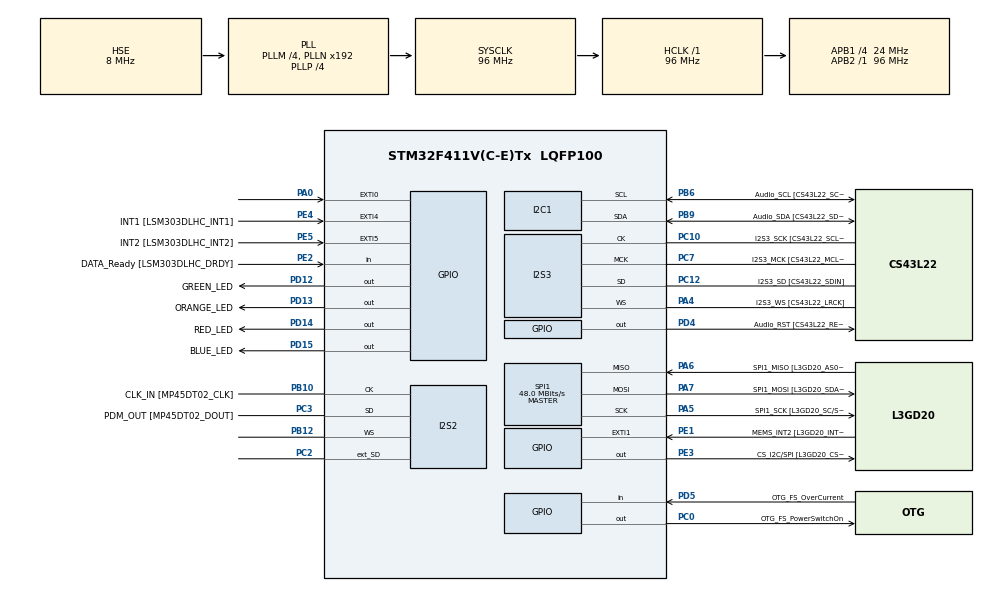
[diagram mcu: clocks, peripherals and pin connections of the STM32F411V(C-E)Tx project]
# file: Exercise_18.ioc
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FREERTOS.Tasks01=GREEN_LED,0,128,Start_GREEN_LED,Default,NULL,Dynamic,NULL,NULL;RED_LED,0,128,Start_RED_LED,Default,NULL,Dynamic,NULL,NULL;LED_FLASH_CONTR,0,128,Start_LED_FLASH_CONTROL,Default,NULL,Dynamic,NULL,NULL
I2S2.AudioFreq=I2S_AUDIOFREQ_96K
I2S2.ErrorAudioFreq=0.15 %
I2S2.FullDuplexMode=I2S_FULLDUPLEXMODE_ENABLE
I2S2.Instance=SPI$Index
I2S2.RealAudioFreq=96.153 KHz
I2S2.VirtualMode=I2S_MODE_MASTER
I2S3.AudioFreq=I2S_AUDIOFREQ_96K
I2S3.ErrorAudioFreq=-6.99 %
I2S3.FullDuplexMode=I2S_FULLDUPLEXMODE_DISABLE
I2S3.Instance=SPI$Index
I2S3.RealAudioFreq=89.285 KHz
I2S3.VirtualMode=I2S_MODE_MASTER
Mcu.Family=STM32F4
Mcu.Name=STM32F411V(C-E)Tx
Mcu.Package=LQFP100
NVIC.PriorityGroup=NVIC_PRIORITYGROUP_4
NVIC.TIM1_UP_TIM10_IRQn=true\:0\:0\:false\:false\:true\:false\:false\:true
NVIC.TimeBase=TIM1_UP_TIM10_IRQn
NVIC.TimeBaseIP=TIM1
PA0-WKUP.GPIO_ModeDefaultEXTI=GPIO_MODE_EVT_RISING
PA0-WKUP.Signal=GPXTI0
PA10.GPIO_Label=OTG_FS_ID
PA10.Signal=USB_OTG_FS_ID
PA11.GPIO_Label=OTG_FS_DM
PA11.Signal=USB_OTG_FS_DM
PA12.GPIO_Label=OTG_FS_DP
PA12.Signal=USB_OTG_FS_DP
PA13.GPIO_Label=SWDIO
PA13.Mode=Serial_Wire
PA13.Signal=SYS_JTMS-SWDIO
PA14.GPIO_Label=SWCLK
PA14.Mode=Serial_Wire
PA14.Signal=SYS_JTCK-SWCLK
PA4.GPIO_Label=I2S3_WS [CS43L22_LRCK]
PA4.GPIO_Mode=GPIO_MODE_AF_PP
PA4.GPIO_PuPd=GPIO_NOPULL
PA4.GPIO_Speed=GPIO_SPEED_FREQ_LOW
PA4.Mode=Half_Duplex_Master
PA4.Signal=I2S3_WS
PA5.GPIO_Label=SPI1_SCK [L3GD20_SC/SPC]
PA5.Mode=Full_Duplex_Master
PA5.Signal=SPI1_SCK
PA6.GPIO_Label=SPI1_MISO [L3GD20_AS0/SDO]
PA6.Mode=Full_Duplex_Master
PA6.Signal=SPI1_MISO
PA7.GPIO_Label=SPI1_MOSI [L3GD20_SDA/SDI/SDO]
PA7.Mode=Full_Duplex_Master
PA7.Signal=SPI1_MOSI
PA9.GPIO_Label=VBUS_FS
PA9.Signal=USB_OTG_FS_VBUS
PB10.GPIO_Label=CLK_IN [MP45DT02_CLK]
PB10.Mode=Full_Duplex_Master
PB10.Signal=I2S2_CK
PB12.Mode=Full_Duplex_Master
PB12.Signal=I2S2_WS
PB3.GPIO_Label=SWO
PB3.Signal=SYS_JTDO-SWO
PB6.GPIO_Label=Audio_SCL [CS43L22_SCL]
PB6.GPIO_Mode=GPIO_MODE_AF_OD
PB6.GPIO_PuPd=GPIO_NOPULL
PB6.GPIO_Speed=GPIO_SPEED_FREQ_LOW
PB6.Mode=I2C
PB6.Signal=I2C1_SCL
PB9.GPIO_Label=Audio_SDA [CS43L22_SDA]
PB9.GPIO_Mode=GPIO_MODE_AF_OD
PB9.GPIO_PuPd=GPIO_NOPULL
PB9.GPIO_Speed=GPIO_SPEED_FREQ_LOW
PB9.Mode=I2C
PB9.Signal=I2C1_SDA
PC0.GPIO_Label=OTG_FS_PowerSwitchOn
PC0.PinState=GPIO_PIN_SET
PC0.Signal=GPIO_Output
PC10.GPIO_Label=I2S3_SCK [CS43L22_SCLK]
PC10.GPIO_Mode=GPIO_MODE_AF_PP
PC10.GPIO_PuPd=GPIO_NOPULL
PC10.GPIO_Speed=GPIO_SPEED_FREQ_LOW
PC10.Mode=Half_Duplex_Master
PC10.Signal=I2S3_CK
PC12.GPIO_Label=I2S3_SD [CS43L22_SDIN]
PC12.GPIO_Mode=GPIO_MODE_AF_PP
PC12.GPIO_PuPd=GPIO_NOPULL
PC12.GPIO_Speed=GPIO_SPEED_FREQ_LOW
PC12.Mode=Half_Duplex_Master
PC12.Signal=I2S3_SD
PC14-OSC32_IN.GPIO_Label=PC14-OSC32_IN
PC14-OSC32_IN.Mode=LSE-External-Oscillator
PC14-OSC32_IN.Signal=RCC_OSC32_IN
PC15-OSC32_OUT.GPIO_Label=PC15-OSC32_OUT
PC15-OSC32_OUT.Mode=LSE-External-Oscillator
PC15-OSC32_OUT.Signal=RCC_OSC32_OUT
PC2.Mode=Full_Duplex_Master
PC2.Signal=I2S2_ext_SD
PC3.GPIO_Label=PDM_OUT [MP45DT02_DOUT]
PC3.Mode=Full_Duplex_Master
PC3.Signal=I2S2_SD
PC7.GPIO_Label=I2S3_MCK [CS43L22_MCLK]
PC7.GPIO_Mode=GPIO_MODE_AF_PP
PC7.GPIO_PuPd=GPIO_NOPULL
PC7.GPIO_Speed=GPIO_SPEED_FREQ_LOW
PC7.Mode=Master_Clock_Activated
PC7.Signal=I2S3_MCK
PD12.GPIO_Label=GREEN_LED
PD12.GPIO_PuPd=GPIO_NOPULL
PD12.GPIO_Speed=GPIO_SPEED_FREQ_LOW
PD12.Signal=GPIO_Output
PD13.GPIO_Label=ORANGE_LED
PD13.GPIO_PuPd=GPIO_NOPULL
PD13.GPIO_Speed=GPIO_SPEED_FREQ_LOW
PD13.Signal=GPIO_Output
PD14.GPIO_Label=RED_LED
PD14.GPIO_PuPd=GPIO_NOPULL
PD14.GPIO_Speed=GPIO_SPEED_FREQ_LOW
PD14.Signal=GPIO_Output
PD15.GPIO_Label=BLUE_LED
PD15.GPIO_PuPd=GPIO_NOPULL
PD15.GPIO_Speed=GPIO_SPEED_FREQ_LOW
PD15.Signal=GPIO_Output
PD4.GPIO_Label=Audio_RST [CS43L22_RESET]
PD4.Signal=GPIO_Output
PD5.GPIO_Label=OTG_FS_OverCurrent
PD5.Signal=GPIO_Input
PE1.GPIO_Label=MEMS_INT2 [L3GD20_INT2]
PE1.GPIO_ModeDefaultEXTI=GPIO_MODE_EVT_RISING
PE1.Signal=GPXTI1
PE2.GPIO_Label=DATA_Ready [LSM303DLHC_DRDY]
PE2.Signal=GPIO_Input
PE3.GPIO_Label=CS_I2C/SPI [L3GD20_CS_I2C/SPI]
PE3.Signal=GPIO_Output
PE4.GPIO_Label=INT1 [LSM303DLHC_INT1]
PE4.GPIO_ModeDefaultEXTI=GPIO_MODE_EVT_RISING
PE4.Signal=GPXTI4
PE5.GPIO_Label=INT2 [LSM303DLHC_INT2]
PE5.GPIO_ModeDefaultEXTI=GPIO_MODE_EVT_RISING
PE5.Signal=GPXTI5
PH0\ -\ OSC_IN.GPIO_Label=PH0-OSC_IN
PH0\ -\ OSC_IN.Mode=HSE-External-Oscillator
PH0\ -\ OSC_IN.Signal=RCC_OSC_IN
PH1\ -\ OSC_OUT.GPIO_Label=PH1-OSC_OUT
PH1\ -\ OSC_OUT.Mode=HSE-External-Oscillator
PH1\ -\ OSC_OUT.Signal=RCC_OSC_OUT
ProjectManager.HeapSize=0x200
ProjectManager.StackSize=0x400
ProjectManager.TargetToolchain=STM32CubeIDE
RCC.48MHZClocksFreq_Value=48000000
RCC.AHBFreq_Value=96000000
RCC.APB1CLKDivider=RCC_HCLK_DIV4
RCC.APB1Freq_Value=24000000
RCC.APB1TimFreq_Value=48000000
RCC.APB2Freq_Value=96000000
RCC.APB2TimFreq_Value=96000000
RCC.CortexFreq_Value=96000000
RCC.HCLKFreq_Value=96000000
RCC.HSE_VALUE=8000000
RCC.HSI_VALUE=16000000
RCC.PLLI2SM=5
RCC.PLLI2SN=200
RCC.PLLM=4
RCC.PLLP=RCC_PLLP_DIV4
RCC.PLLQ=8
RCC.PLLSourceVirtual=RCC_PLLSOURCE_HSE
RCC.SYSCLKFreq_VALUE=96000000
RCC.SYSCLKSource=RCC_SYSCLKSOURCE_PLLCLK
RCC.VCOOutputFreq_Value=384000000
SPI1.BaudRatePrescaler=SPI_BAUDRATEPRESCALER_2
SPI1.CalculateBaudRate=48.0 MBits/s
SPI1.Direction=SPI_DIRECTION_2LINES
SPI1.Mode=SPI_MODE_MASTER
SPI1.VirtualType=VM_MASTER
VP_FREERTOS_VS_CMSIS_V1.Mode=CMSIS_V1
VP_SYS_VS_tim1.Mode=TIM1
board=STM32F411E-DISCO

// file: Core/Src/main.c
/* USER CODE BEGIN Header */
/**
  ******************************************************************************
  * @file           : main.c
  * @brief          : Main program body
  ******************************************************************************
  * @attention
  *
  * <h2><center>&copy; Copyright (c) 2024 STMicroelectronics.
  * All rights reserved.</center></h2>
  *
  * This software component is licensed by ST under Ultimate Liberty license
  * SLA0044, the "License"; You may not use this file except in compliance with
  * the License. You may obtain a copy of the License at:
  *                             www.st.com/SLA0044
  *
  ******************************************************************************
  */
/* USER CODE END Header */

#include "main.h"
#include "cmsis_os.h"
#include "stdint.h"

/* USER CODE BEGIN Includes */
#include "LED_flash_pool.h"
/* USER CODE END Includes */

I2C_HandleTypeDef hi2c1;

I2S_HandleTypeDef hi2s2;
I2S_HandleTypeDef hi2s3;

SPI_HandleTypeDef hspi1;

osThreadId GREEN_LEDHandle;
osThreadId RED_LEDHandle;
osThreadId LED_FLASH_CONTRHandle;

void SystemClock_Config(void);
static void MX_GPIO_Init(void);
static void MX_I2C1_Init(void);
static void MX_I2S2_Init(void);
static void MX_I2S3_Init(void);
static void MX_SPI1_Init(void);
void Start_GREEN_LED(void const * argument);
void Start_RED_LED(void const * argument);
void Start_LED_FLASH_CONTROL(void const * argument);

int main(void)
{

  /* MCU Configuration--------------------------------------------------------*/

  /* Reset of all peripherals, Initializes the Flash interface and the Systick. */
  HAL_Init();

  /* USER CODE BEGIN Init */
  init_LED_flash_pool();
  /* USER CODE END Init */

  /* Configure the system clock */
  SystemClock_Config();

  /* Initialize all configured peripherals */
  MX_GPIO_Init();
  MX_I2C1_Init();
  MX_I2S2_Init();
  MX_I2S3_Init();
  MX_SPI1_Init();

  /* Create the thread(s) */
  /* definition and creation of GREEN_LED */
  osThreadDef(GREEN_LED, Start_GREEN_LED, osPriorityNormal, 0, 128);
  GREEN_LEDHandle = osThreadCreate(osThread(GREEN_LED), NULL);

  /* definition and creation of RED_LED */
  osThreadDef(RED_LED, Start_RED_LED, osPriorityNormal, 0, 128);
  RED_LEDHandle = osThreadCreate(osThread(RED_LED), NULL);

  /* definition and creation of LED_FLASH_CONTR */
  osThreadDef(LED_FLASH_CONTR, Start_LED_FLASH_CONTROL, osPriorityNormal, 0, 128);
  LED_FLASH_CONTRHandle = osThreadCreate(osThread(LED_FLASH_CONTR), NULL);

  /* Start scheduler */
  osKernelStart();

  /* We should never get here as control is now taken by the scheduler */

  /* Infinite loop */
  while (1)
  {

  }
}

void SystemClock_Config(void)
{
  RCC_OscInitTypeDef RCC_OscInitStruct = {0};
  RCC_ClkInitTypeDef RCC_ClkInitStruct = {0};
  RCC_PeriphCLKInitTypeDef PeriphClkInitStruct = {0};

  /** Configure the main internal regulator output voltage
  */
  __HAL_RCC_PWR_CLK_ENABLE();
  __HAL_PWR_VOLTAGESCALING_CONFIG(PWR_REGULATOR_VOLTAGE_SCALE1);
  /** Initializes the CPU, AHB and APB busses clocks
  */
  RCC_OscInitStruct.OscillatorType = RCC_OSCILLATORTYPE_HSE;
  RCC_OscInitStruct.HSEState = RCC_HSE_ON;
  RCC_OscInitStruct.PLL.PLLState = RCC_PLL_ON;
  RCC_OscInitStruct.PLL.PLLSource = RCC_PLLSOURCE_HSE;
  RCC_OscInitStruct.PLL.PLLM = 4;
  RCC_OscInitStruct.PLL.PLLN = 192;
  RCC_OscInitStruct.PLL.PLLP = RCC_PLLP_DIV4;
  RCC_OscInitStruct.PLL.PLLQ = 8;
  if (HAL_RCC_OscConfig(&RCC_OscInitStruct) != HAL_OK)
  {
    Error_Handler();
  }
  /** Initializes the CPU, AHB and APB busses clocks
  */
  RCC_ClkInitStruct.ClockType = RCC_CLOCKTYPE_HCLK|RCC_CLOCKTYPE_SYSCLK
                              |RCC_CLOCKTYPE_PCLK1|RCC_CLOCKTYPE_PCLK2;
  RCC_ClkInitStruct.SYSCLKSource = RCC_SYSCLKSOURCE_PLLCLK;
  RCC_ClkInitStruct.AHBCLKDivider = RCC_SYSCLK_DIV1;
  RCC_ClkInitStruct.APB1CLKDivider = RCC_HCLK_DIV4;
  RCC_ClkInitStruct.APB2CLKDivider = RCC_HCLK_DIV1;

  if (HAL_RCC_ClockConfig(&RCC_ClkInitStruct, FLASH_LATENCY_3) != HAL_OK)
  {
    Error_Handler();
  }
  PeriphClkInitStruct.PeriphClockSelection = RCC_PERIPHCLK_I2S;
  PeriphClkInitStruct.PLLI2S.PLLI2SN = 200;
  PeriphClkInitStruct.PLLI2S.PLLI2SM = 5;
  PeriphClkInitStruct.PLLI2S.PLLI2SR = 2;
  if (HAL_RCCEx_PeriphCLKConfig(&PeriphClkInitStruct) != HAL_OK)
  {
    Error_Handler();
  }
}

static void MX_I2C1_Init(void)
{

  hi2c1.Instance = I2C1;
  hi2c1.Init.ClockSpeed = 100000;
  hi2c1.Init.DutyCycle = I2C_DUTYCYCLE_2;
  hi2c1.Init.OwnAddress1 = 0;
  hi2c1.Init.AddressingMode = I2C_ADDRESSINGMODE_7BIT;
  hi2c1.Init.DualAddressMode = I2C_DUALADDRESS_DISABLE;
  hi2c1.Init.OwnAddress2 = 0;
  hi2c1.Init.GeneralCallMode = I2C_GENERALCALL_DISABLE;
  hi2c1.Init.NoStretchMode = I2C_NOSTRETCH_DISABLE;
  if (HAL_I2C_Init(&hi2c1) != HAL_OK)
  {
    Error_Handler();
  }

}

static void MX_I2S2_Init(void)
{

  hi2s2.Instance = SPI2;
  hi2s2.Init.Mode = I2S_MODE_MASTER_TX;
  hi2s2.Init.Standard = I2S_STANDARD_PHILIPS;
  hi2s2.Init.DataFormat = I2S_DATAFORMAT_16B;
  hi2s2.Init.MCLKOutput = I2S_MCLKOUTPUT_DISABLE;
  hi2s2.Init.AudioFreq = I2S_AUDIOFREQ_96K;
  hi2s2.Init.CPOL = I2S_CPOL_LOW;
  hi2s2.Init.ClockSource = I2S_CLOCK_PLL;
  hi2s2.Init.FullDuplexMode = I2S_FULLDUPLEXMODE_ENABLE;
  if (HAL_I2S_Init(&hi2s2) != HAL_OK)
  {
    Error_Handler();
  }

}

static void MX_I2S3_Init(void)
{

  hi2s3.Instance = SPI3;
  hi2s3.Init.Mode = I2S_MODE_MASTER_TX;
  hi2s3.Init.Standard = I2S_STANDARD_PHILIPS;
  hi2s3.Init.DataFormat = I2S_DATAFORMAT_16B;
  hi2s3.Init.MCLKOutput = I2S_MCLKOUTPUT_ENABLE;
  hi2s3.Init.AudioFreq = I2S_AUDIOFREQ_96K;
  hi2s3.Init.CPOL = I2S_CPOL_LOW;
  hi2s3.Init.ClockSource = I2S_CLOCK_PLL;
  hi2s3.Init.FullDuplexMode = I2S_FULLDUPLEXMODE_DISABLE;
  if (HAL_I2S_Init(&hi2s3) != HAL_OK)
  {
    Error_Handler();
  }

}

static void MX_SPI1_Init(void)
{

  /* SPI1 parameter configuration*/
  hspi1.Instance = SPI1;
  hspi1.Init.Mode = SPI_MODE_MASTER;
  hspi1.Init.Direction = SPI_DIRECTION_2LINES;
  hspi1.Init.DataSize = SPI_DATASIZE_8BIT;
  hspi1.Init.CLKPolarity = SPI_POLARITY_LOW;
  hspi1.Init.CLKPhase = SPI_PHASE_1EDGE;
  hspi1.Init.NSS = SPI_NSS_SOFT;
  hspi1.Init.BaudRatePrescaler = SPI_BAUDRATEPRESCALER_2;
  hspi1.Init.FirstBit = SPI_FIRSTBIT_MSB;
  hspi1.Init.TIMode = SPI_TIMODE_DISABLE;
  hspi1.Init.CRCCalculation = SPI_CRCCALCULATION_DISABLE;
  hspi1.Init.CRCPolynomial = 10;
  if (HAL_SPI_Init(&hspi1) != HAL_OK)
  {
    Error_Handler();
  }

}

static void MX_GPIO_Init(void)
{
  GPIO_InitTypeDef GPIO_InitStruct = {0};

  /* GPIO Ports Clock Enable */
  __HAL_RCC_GPIOE_CLK_ENABLE();
  __HAL_RCC_GPIOC_CLK_ENABLE();
  __HAL_RCC_GPIOH_CLK_ENABLE();
  __HAL_RCC_GPIOA_CLK_ENABLE();
  __HAL_RCC_GPIOB_CLK_ENABLE();
  __HAL_RCC_GPIOD_CLK_ENABLE();

  /*Configure GPIO pin Output Level */
  HAL_GPIO_WritePin(CS_I2C_SPI_GPIO_Port, CS_I2C_SPI_Pin, GPIO_PIN_RESET);

  /*Configure GPIO pin Output Level */
  HAL_GPIO_WritePin(OTG_FS_PowerSwitchOn_GPIO_Port, OTG_FS_PowerSwitchOn_Pin, GPIO_PIN_SET);

  /*Configure GPIO pin Output Level */
  HAL_GPIO_WritePin(GPIOD, GREEN_LED_Pin|ORANGE_LED_Pin|RED_LED_Pin|BLUE_LED_Pin
                          |Audio_RST_Pin, GPIO_PIN_RESET);

  /*Configure GPIO pin : DATA_Ready_Pin */
  GPIO_InitStruct.Pin = DATA_Ready_Pin;
  GPIO_InitStruct.Mode = GPIO_MODE_INPUT;
  GPIO_InitStruct.Pull = GPIO_NOPULL;
  HAL_GPIO_Init(DATA_Ready_GPIO_Port, &GPIO_InitStruct);

  /*Configure GPIO pin : CS_I2C_SPI_Pin */
  GPIO_InitStruct.Pin = CS_I2C_SPI_Pin;
  GPIO_InitStruct.Mode = GPIO_MODE_OUTPUT_PP;
  GPIO_InitStruct.Pull = GPIO_NOPULL;
  GPIO_InitStruct.Speed = GPIO_SPEED_FREQ_LOW;
  HAL_GPIO_Init(CS_I2C_SPI_GPIO_Port, &GPIO_InitStruct);

  /*Configure GPIO pins : INT1_Pin INT2_Pin MEMS_INT2_Pin */
  GPIO_InitStruct.Pin = INT1_Pin|INT2_Pin|MEMS_INT2_Pin;
  GPIO_InitStruct.Mode = GPIO_MODE_EVT_RISING;
  GPIO_InitStruct.Pull = GPIO_NOPULL;
  HAL_GPIO_Init(GPIOE, &GPIO_InitStruct);

  /*Configure GPIO pin : OTG_FS_PowerSwitchOn_Pin */
  GPIO_InitStruct.Pin = OTG_FS_PowerSwitchOn_Pin;
  GPIO_InitStruct.Mode = GPIO_MODE_OUTPUT_PP;
  GPIO_InitStruct.Pull = GPIO_NOPULL;
  GPIO_InitStruct.Speed = GPIO_SPEED_FREQ_LOW;
  HAL_GPIO_Init(OTG_FS_PowerSwitchOn_GPIO_Port, &GPIO_InitStruct);

  /*Configure GPIO pin : PA0 */
  GPIO_InitStruct.Pin = GPIO_PIN_0;
  GPIO_InitStruct.Mode = GPIO_MODE_EVT_RISING;
  GPIO_InitStruct.Pull = GPIO_NOPULL;
  HAL_GPIO_Init(GPIOA, &GPIO_InitStruct);

  /*Configure GPIO pins : GREEN_LED_Pin ORANGE_LED_Pin RED_LED_Pin BLUE_LED_Pin
                           Audio_RST_Pin */
  GPIO_InitStruct.Pin = GREEN_LED_Pin|ORANGE_LED_Pin|RED_LED_Pin|BLUE_LED_Pin
                          |Audio_RST_Pin;
  GPIO_InitStruct.Mode = GPIO_MODE_OUTPUT_PP;
  GPIO_InitStruct.Pull = GPIO_NOPULL;
  GPIO_InitStruct.Speed = GPIO_SPEED_FREQ_LOW;
  HAL_GPIO_Init(GPIOD, &GPIO_InitStruct);

  /*Configure GPIO pin : VBUS_FS_Pin */
  GPIO_InitStruct.Pin = VBUS_FS_Pin;
  GPIO_InitStruct.Mode = GPIO_MODE_INPUT;
  GPIO_InitStruct.Pull = GPIO_NOPULL;
  HAL_GPIO_Init(VBUS_FS_GPIO_Port, &GPIO_InitStruct);

  /*Configure GPIO pins : OTG_FS_ID_Pin OTG_FS_DM_Pin OTG_FS_DP_Pin */
  GPIO_InitStruct.Pin = OTG_FS_ID_Pin|OTG_FS_DM_Pin|OTG_FS_DP_Pin;
  GPIO_InitStruct.Mode = GPIO_MODE_AF_PP;
  GPIO_InitStruct.Pull = GPIO_NOPULL;
  GPIO_InitStruct.Speed = GPIO_SPEED_FREQ_VERY_HIGH;
  GPIO_InitStruct.Alternate = GPIO_AF10_OTG_FS;
  HAL_GPIO_Init(GPIOA, &GPIO_InitStruct);

  /*Configure GPIO pin : OTG_FS_OverCurrent_Pin */
  GPIO_InitStruct.Pin = OTG_FS_OverCurrent_Pin;
  GPIO_InitStruct.Mode = GPIO_MODE_INPUT;
  GPIO_InitStruct.Pull = GPIO_NOPULL;
  HAL_GPIO_Init(OTG_FS_OverCurrent_GPIO_Port, &GPIO_InitStruct);

}

void Start_GREEN_LED(void const * argument)
{
  /* USER CODE BEGIN 5 */
  LED_tasks_t LED = GREEN_LED;
  LED_Flash_t Flash =  {10,1};
  GPIO_TypeDef* GPIOx = GREEN_LED_GPIO_Port;
  uint16_t GPIO_Pin = GREEN_LED_Pin;
  /* Infinite loop */
  for(;;)
  {
	Flash.rate =  getLED_flash_pool(LED);
    for(int i = 0 ; i < 1000 * Flash.period / Flash.rate; i++)
    {
    	osDelay(Flash.rate);
    	HAL_GPIO_TogglePin(GPIOx, GPIO_Pin);
    }
  }
  /* USER CODE END 5 */
}

void Start_RED_LED(void const * argument)
{
  /* USER CODE BEGIN Start_RED_LED */
  LED_tasks_t LED = RED_LED;
  LED_Flash_t Flash =  {6,1};
  GPIO_TypeDef* GPIOx = RED_LED_GPIO_Port;
  uint16_t GPIO_Pin = RED_LED_Pin;

  /* Infinite loop */
  for(;;)
  {
	Flash.rate = getLED_flash_pool(LED);
	for(int i = 0; i < 1000 * Flash.period / Flash.rate; i++)
	{
      osDelay(Flash.rate);
      HAL_GPIO_TogglePin(GPIOx, GPIO_Pin);
	}
  }
  /* USER CODE END Start_RED_LED */
}

void Start_LED_FLASH_CONTROL(void const * argument)
{
  /* USER CODE BEGIN Start_LED_FLASH_CONTROL */
  LED_tasks_t LED_R = RED_LED;
  LED_tasks_t LED_G = GREEN_LED;
  uint32_t delay = 8000;
  /* Infinite loop */
  for(;;)
  {
    osDelay(delay);
    setLED_flash_pool(LED_G,1);
    setLED_flash_pool(LED_R,10);
    osDelay(delay);
    setLED_flash_pool(LED_G,10);
    setLED_flash_pool(LED_R,1);
  }
  /* USER CODE END Start_LED_FLASH_CONTROL */
}

void HAL_TIM_PeriodElapsedCallback(TIM_HandleTypeDef *htim)
{
  if (htim->Instance == TIM1) {
    HAL_IncTick();
  }
}

void Error_Handler(void)
{
}

/************************ (C) COPYRIGHT STMicroelectronics *****END OF FILE****/
